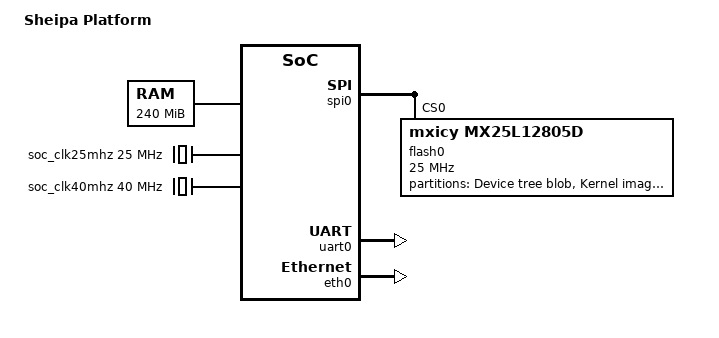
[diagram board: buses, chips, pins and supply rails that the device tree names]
/*
 * Realtek Semiconductor Corp.
 *
 * Device Tree Structure
 *
 * Tony Wu (tonywu@realtek.com)
 */

#include <dt-bindings/interrupt-controller/irq.h>

/ {
	model = "Sheipa Platform";
	compatible = "rtk,sheipa";

	memory@81000000 {
		device_type = "memory";
		reg = <0x81000000 0xf000000>;
	};

	clocks {
		#address-cells = <1>;
		#size-cells = <0>;

		soc_clk25mhz: oscillator1 {
			compatible = "fixed-clock";
			clock-output-names = "clk25mhz";
			clock-frequency = <25000000>;
			#clock-cells = <0>;
		};
		soc_clk40mhz: oscillator2 {
			compatible = "fixed-clock";
			clock-output-names = "clk40mhz";
			clock-frequency = <40000000>;
			#clock-cells = <0>;
		};
	};

	ocp {
		compatible = "sheipa-bus", "simple-bus";
		#address-cells = <1>;
		#size-cells = <1>;
		ranges;

		spi0: spi@60009000 {
			compatible = "realtek,spi-rxi312";
			#address-cells = <1>;
			#size-cells = <0>;
			bus_num = <0>;
			reg = <0x60009000 0x200>,
				<0x20000000 0x1000000>;
			interrupts = <GIC_SPI 21 IRQ_TYPE_LEVEL_HIGH>;
			clocks = <&soc_clk25mhz>;
			spi-deactivate-delay = <0>;
			spi-max-frequency = <25000000>;
			spi-fifo-size = <64>;
			flash0: flash@0 {
				#address-cells = <1>;
				#size-cells = <1>;
				compatible = "mxicy,mx25l12805d", "mxic,m25p80",
					     "jedec,spi-nor";
				spi-max-frequency = <25000000>;
				reg = <0>;
				mode = <0>;
				spi-num-slaves = <0>;
				spi-fifo-size = <64>;
				spi-baudr-div = <1>;
				spi-rx-bus-width = <4>;
				spi-tx-bus-width = <4>;

				partitions {
					compatible = "fixed-partitions";
					#address-cells = <1>;
					#size-cells = <1>;
					partition@0 {
						label = "Device tree blob";
						reg = <0x40000 0xC0000>; /* 256K-1M */
						read-only;
					};
					partition@1 {
						label = "Kernel image";
						reg = <0x200000 0x600000>; /* 2-8M */
						read-only;
					};
					partition@2 {
						label = "Squashfs filesystem";
						reg = <0x800000 0x700000>; /* 8M-15M */
						read-only;
					};
					partition@3 {
						label = "jffs2 filesystem";
						reg = <0xF00000 0x100000>; /* 15M-16M */
					};
				};
			};
		};

		rtc: rtc@6000c000 {
			compatible = "arm,rtc-pl031", "arm,primecell";
			reg = <0x6000c000 0x1000>;
			interrupts = <GIC_SPI 22 IRQ_TYPE_LEVEL_HIGH>;
			clocks = <&soc_clk25mhz>;
			clock-names = "apb_pclk";
			status = "disabled";
		};

		uart0: dwapb@60007000 {
			compatible = "snps,dw-apb-uart";
			reg = <0x60007000 0x100>;
			interrupts = <GIC_SPI 23 IRQ_TYPE_LEVEL_HIGH>;
			reg-shift = <2>;
			reg-io-width = <1>;
			clock-frequency = <25000000>;
		};

		eth0: rtl8168@70004000 {
			compatible = "realtek,sheipa-r8168", "realtek,r8168";
			reg = <0x70004000 0x100>;
			interrupts = <GIC_SPI 46 IRQ_TYPE_LEVEL_HIGH>;
			mac-address = "44:77:39:3a:9b:15";
			status = "okay";
		};

		apbtimer0: dwapb@60006000 {
			compatible = "snps,dw-apb-timer-sp";
			reg = <0x60006000 0x14>;
			interrupts = <GIC_SPI 17 IRQ_TYPE_LEVEL_HIGH>;
			clock-frequency = <25000000>;
		};

		apbtimer1: dwapb@60006014 {
			compatible = "snps,dw-apb-timer-osc";
			reg = <0x60006014 0x14>;
			interrupts = <GIC_SPI 18 IRQ_TYPE_LEVEL_HIGH>;
			clock-frequency = <25000000>;
		};

		dwc3: dwc3@70100000 {
			compatible = "snps,dwc3";
			reg = <0x70100000 0x100000>;
			interrupts = <GIC_SPI 52 IRQ_TYPE_LEVEL_HIGH>;
			status = "disabled";
		};

		gpu: malig310@68200000 {
			compatible = "arm,mali-midgard";
			reg = <0x68200000 0x500000>;
			interrupts = <GIC_SPI 39 IRQ_TYPE_LEVEL_HIGH>,
				<GIC_SPI 38 IRQ_TYPE_LEVEL_HIGH>,
				<GIC_SPI 40 IRQ_TYPE_LEVEL_HIGH>;
			interrupt-names = "JOB", "MMU", "GPU";
			clocks = <&soc_clk40mhz>;
			clock-names = "clk_mali";
			system-coherency = <31>;  // No coherency
			status = "disabled";
		};

		hdmi0: hdmi@69000000 {
			compatible = "realtek,sheipa-hdmi";
			reg = <0x69000000 0x60>, <0x69001000 0x300>;
			interrupts = <GIC_SPI 35 IRQ_TYPE_LEVEL_HIGH>;
			sheipa,hdmi-res-x = <720>;
			sheipa,hdmi-res-y = <480>;
			sheipa,hdmi-bpp = <32>;
			sheipa,hdmi-mode = <1>;
			status = "disabled";
		};
	};

	firmware {
		optee {
			compatible = "linaro,optee-tz";
			method = "smc";
		};
	};

	chosen {
		bootargs = "console=ttyS0,57600 init=/init earlyprintk psci=enable root=/dev/mtdblock2 rootfstype=squashfs";
		stdout-path = &uart0;
	};
};
